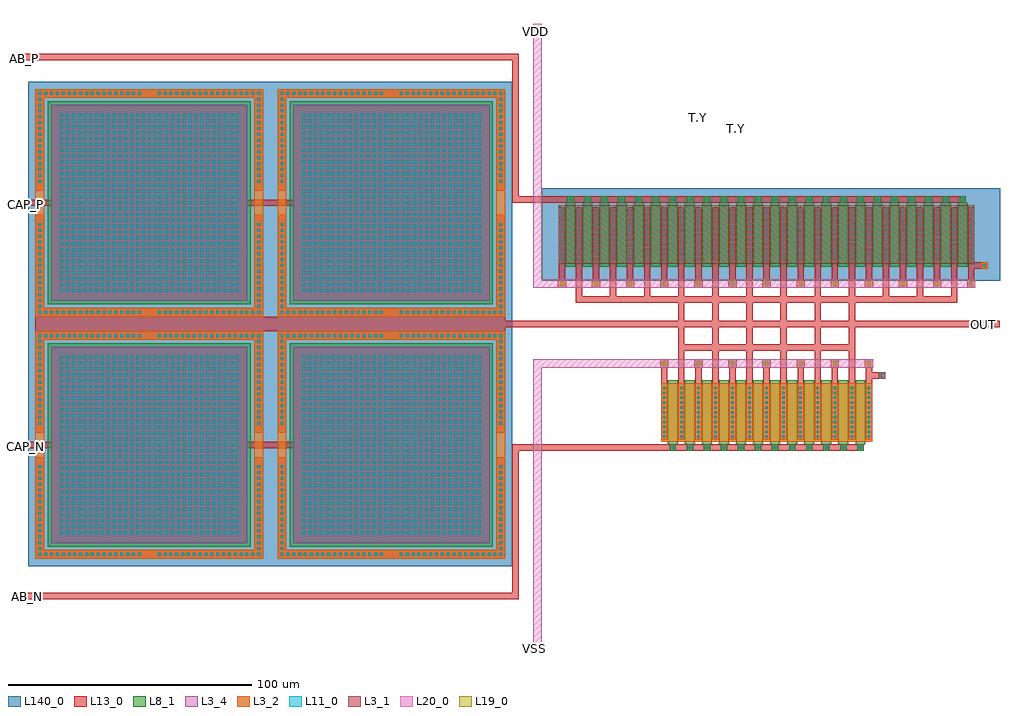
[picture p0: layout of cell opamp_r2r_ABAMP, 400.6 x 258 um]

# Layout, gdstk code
from math import pi, radians
import gdstk
lib = gdstk.Library(unit=1e-6, precision=1e-07)
def R(c, l, rs):  # rectangles x0, y0, x1, y1
    for r in rs: c.add(gdstk.rectangle(r[:2], r[2:], *l))
def A(c, l, x, y, w, h, nx, ny, dx, dy):  # array of equal rectangles
    R(c, l, [(x+i*dx, y+j*dy, x+i*dx+w, y+j*dy+h) for i in range(nx) for j in range(ny)])
def P(c, l, *ps):  # polygons
    for p in ps: c.add(gdstk.Polygon(p, *l))
L3_1 = (3, 1)
L3_2 = (3, 2)
L3_4 = (3, 4)
L8_1 = (8, 1)
L11_0 = (11, 0)
L13_0 = (13, 0)
L19_0 = (19, 0)
L20_0 = (20, 0)
L140_0 = (140, 0)

fet_p = lib.new_cell('fet_p')
R(fet_p, L3_1, [(-85.3,-12,85.3,12)])
A(fet_p, L11_0, -84.5, -10.5, 1, 1, 25, 11, 7, 2)
A(fet_p, L13_0, -85.3, -11.3, 2.6, 22.6, 25, 1, 7, 0)
fet_p.add(gdstk.FlexPath([(3.5,-13.2),(3.5,13.2)], 4, ends="flush", simple_path=True, layer=8, datatype=1))  # L8_1
fet_p.add(gdstk.FlexPath([(-3.5,-13.2),(-3.5,13.2)], 4, ends="flush", simple_path=True, layer=8, datatype=1))  # L8_1
fet_p.add(gdstk.FlexPath([(10.5,-13.2),(10.5,13.2)], 4, ends="flush", simple_path=True, layer=8, datatype=1))  # L8_1
fet_p.add(gdstk.FlexPath([(-10.5,-13.2),(-10.5,13.2)], 4, ends="flush", simple_path=True, layer=8, datatype=1))  # L8_1
fet_p.add(gdstk.FlexPath([(17.5,-13.2),(17.5,13.2)], 4, ends="flush", simple_path=True, layer=8, datatype=1))  # L8_1
fet_p.add(gdstk.FlexPath([(-17.5,-13.2),(-17.5,13.2)], 4, ends="flush", simple_path=True, layer=8, datatype=1))  # L8_1
fet_p.add(gdstk.FlexPath([(24.5,-13.2),(24.5,13.2)], 4, ends="flush", simple_path=True, layer=8, datatype=1))  # L8_1
fet_p.add(gdstk.FlexPath([(-24.5,-13.2),(-24.5,13.2)], 4, ends="flush", simple_path=True, layer=8, datatype=1))  # L8_1
fet_p.add(gdstk.FlexPath([(31.5,-13.2),(31.5,13.2)], 4, ends="flush", simple_path=True, layer=8, datatype=1))  # L8_1
fet_p.add(gdstk.FlexPath([(-31.5,-13.2),(-31.5,13.2)], 4, ends="flush", simple_path=True, layer=8, datatype=1))  # L8_1
fet_p.add(gdstk.FlexPath([(38.5,-13.2),(38.5,13.2)], 4, ends="flush", simple_path=True, layer=8, datatype=1))  # L8_1
fet_p.add(gdstk.FlexPath([(-38.5,-13.2),(-38.5,13.2)], 4, ends="flush", simple_path=True, layer=8, datatype=1))  # L8_1
fet_p.add(gdstk.FlexPath([(45.5,-13.2),(45.5,13.2)], 4, ends="flush", simple_path=True, layer=8, datatype=1))  # L8_1
fet_p.add(gdstk.FlexPath([(-45.5,-13.2),(-45.5,13.2)], 4, ends="flush", simple_path=True, layer=8, datatype=1))  # L8_1
fet_p.add(gdstk.FlexPath([(52.5,-13.2),(52.5,13.2)], 4, ends="flush", simple_path=True, layer=8, datatype=1))  # L8_1
fet_p.add(gdstk.FlexPath([(-52.5,-13.2),(-52.5,13.2)], 4, ends="flush", simple_path=True, layer=8, datatype=1))  # L8_1
fet_p.add(gdstk.FlexPath([(59.5,-13.2),(59.5,13.2)], 4, ends="flush", simple_path=True, layer=8, datatype=1))  # L8_1
fet_p.add(gdstk.FlexPath([(-59.5,-13.2),(-59.5,13.2)], 4, ends="flush", simple_path=True, layer=8, datatype=1))  # L8_1
fet_p.add(gdstk.FlexPath([(66.5,-13.2),(66.5,13.2)], 4, ends="flush", simple_path=True, layer=8, datatype=1))  # L8_1
fet_p.add(gdstk.FlexPath([(-66.5,-13.2),(-66.5,13.2)], 4, ends="flush", simple_path=True, layer=8, datatype=1))  # L8_1
fet_p.add(gdstk.FlexPath([(73.5,-13.2),(73.5,13.2)], 4, ends="flush", simple_path=True, layer=8, datatype=1))  # L8_1
fet_p.add(gdstk.FlexPath([(-73.5,-13.2),(-73.5,13.2)], 4, ends="flush", simple_path=True, layer=8, datatype=1))  # L8_1
fet_p.add(gdstk.FlexPath([(80.5,-13.2),(80.5,13.2)], 4, ends="flush", simple_path=True, layer=8, datatype=1))  # L8_1
fet_p.add(gdstk.FlexPath([(-80.5,-13.2),(-80.5,13.2)], 4, ends="flush", simple_path=True, layer=8, datatype=1))  # L8_1

fet_n = lib.new_cell('fet_n')
R(fet_n, L3_2, [(-43.3,-12,43.3,12)])
A(fet_n, L11_0, -42.5, -10.5, 1, 1, 13, 11, 7, 2)
A(fet_n, L13_0, -43.3, -11.3, 2.6, 22.6, 13, 1, 7, 0)
fet_n.add(gdstk.FlexPath([(3.5,-13.2),(3.5,13.2)], 4, ends="flush", simple_path=True, layer=8, datatype=1))  # L8_1
fet_n.add(gdstk.FlexPath([(-3.5,-13.2),(-3.5,13.2)], 4, ends="flush", simple_path=True, layer=8, datatype=1))  # L8_1
fet_n.add(gdstk.FlexPath([(10.5,-13.2),(10.5,13.2)], 4, ends="flush", simple_path=True, layer=8, datatype=1))  # L8_1
fet_n.add(gdstk.FlexPath([(-10.5,-13.2),(-10.5,13.2)], 4, ends="flush", simple_path=True, layer=8, datatype=1))  # L8_1
fet_n.add(gdstk.FlexPath([(17.5,-13.2),(17.5,13.2)], 4, ends="flush", simple_path=True, layer=8, datatype=1))  # L8_1
fet_n.add(gdstk.FlexPath([(-17.5,-13.2),(-17.5,13.2)], 4, ends="flush", simple_path=True, layer=8, datatype=1))  # L8_1
fet_n.add(gdstk.FlexPath([(24.5,-13.2),(24.5,13.2)], 4, ends="flush", simple_path=True, layer=8, datatype=1))  # L8_1
fet_n.add(gdstk.FlexPath([(-24.5,-13.2),(-24.5,13.2)], 4, ends="flush", simple_path=True, layer=8, datatype=1))  # L8_1
fet_n.add(gdstk.FlexPath([(31.5,-13.2),(31.5,13.2)], 4, ends="flush", simple_path=True, layer=8, datatype=1))  # L8_1
fet_n.add(gdstk.FlexPath([(-31.5,-13.2),(-31.5,13.2)], 4, ends="flush", simple_path=True, layer=8, datatype=1))  # L8_1
fet_n.add(gdstk.FlexPath([(38.5,-13.2),(38.5,13.2)], 4, ends="flush", simple_path=True, layer=8, datatype=1))  # L8_1
fet_n.add(gdstk.FlexPath([(-38.5,-13.2),(-38.5,13.2)], 4, ends="flush", simple_path=True, layer=8, datatype=1))  # L8_1

moscap = lib.new_cell('moscap')
P(moscap, L3_2, [(-46.7,-46.7),(-46.7,43.1),(-43.1,43.1),(-43.1,-43.1),(43.1,-43.1),(43.1,43.1),(-46.7,43.1),(-46.7,46.7),(46.7,46.7),(46.7,-46.7)])
R(moscap, L3_4, [(-40.3,-40.3,40.3,40.3)])
R(moscap, L8_1, [(-41.7,-41.7,41.7,41.7)])
A(moscap, L11_0, -45.5, -45.5, 1.2, 1.2, 1, 18, 0, 2.4)
A(moscap, L11_0, -45.5, -45.5, 1.2, 1.2, 16, 2, 2.4, 89.8)
A(moscap, L11_0, 8.3, -45.5, 1.2, 1.2, 16, 2, 2.4, 89.8)
A(moscap, L11_0, 44.3, -45.5, 1.2, 1.2, 1, 18, 0, 2.4)
A(moscap, L11_0, -36.6, -36.6, 1.2, 1.2, 31, 31, 2.4, 2.4)
A(moscap, L11_0, -45.5, 3.5, 1.2, 1.2, 1, 18, 0, 2.4)
A(moscap, L11_0, 44.3, 3.5, 1.2, 1.2, 1, 18, 0, 2.4)
R(moscap, L13_0, [(-40.3,-40.3,40.3,40.3)])
P(moscap, L13_0, [(-46.7,-46.7),(-46.7,46.7),(-5,46.7),(-5,43.1),(-43.1,43.1),(-43.1,-43.1),(-5,-43.1),(-5,-46.7)],
  [(5,-46.7),(5,-43.1),(43.1,-43.1),(43.1,43.1),(5,43.1),(5,46.7),(46.7,46.7),(46.7,-46.7)])
R(moscap, L140_0, [(-49.7,-49.7,49.7,49.7)])

cont_g = lib.new_cell('cont_g')
R(cont_g, L8_1, [(-1.3,-1.3,1.3,1.3)])
R(cont_g, L11_0, [(-0.5,-0.5,0.5,0.5)])
R(cont_g, L13_0, [(-1.3,-1.3,1.3,1.3)])

via_1 = lib.new_cell('via_1')
R(via_1, L13_0, [(-1.7,-1.7,1.7,1.7)])
R(via_1, L19_0, [(-0.7,-0.7,0.7,0.7)])
R(via_1, L20_0, [(-1.7,-1.7,1.7,1.7)])

cont_p = lib.new_cell('cont_p')
R(cont_p, L3_1, [(-1.3,-1.3,1.3,1.3)])
R(cont_p, L11_0, [(-0.5,-0.5,0.5,0.5)])
R(cont_p, L13_0, [(-1.3,-1.3,1.3,1.3)])

cont_n = lib.new_cell('cont_n')
R(cont_n, L3_2, [(-1.3,-1.3,1.3,1.3)])
R(cont_n, L11_0, [(-0.5,-0.5,0.5,0.5)])
R(cont_n, L13_0, [(-1.3,-1.3,1.3,1.3)])

opamp_r2r_abamp = lib.new_cell('opamp_r2r_ABAMP')
R(opamp_r2r_abamp, L13_0, [(-255.7,-18,-62.9,-12)])
R(opamp_r2r_abamp, L140_0, [(-47.9,2.6,140.2,40.6)])
opamp_r2r_abamp.add(gdstk.FlexPath([(-32.6,10.3),(-32.6,-3.7)], 2.6, ends="flush", simple_path=True, layer=13, datatype=0))  # L13_0
opamp_r2r_abamp.add(gdstk.FlexPath([(-18.6,10.3),(-18.6,-3.7)], 2.6, ends="flush", simple_path=True, layer=13, datatype=0))  # L13_0
opamp_r2r_abamp.add(gdstk.FlexPath([(-4.6,10.3),(-4.6,-3.7)], 2.6, ends="flush", simple_path=True, layer=13, datatype=0))  # L13_0
opamp_r2r_abamp.add(gdstk.FlexPath([(9.4,10.3),(9.4,-3.7)], 2.6, ends="flush", simple_path=True, layer=13, datatype=0))  # L13_0
opamp_r2r_abamp.add(gdstk.FlexPath([(23.4,10.3),(23.4,-3.7)], 2.6, ends="flush", simple_path=True, layer=13, datatype=0))  # L13_0
opamp_r2r_abamp.add(gdstk.FlexPath([(37.4,10.3),(37.4,-3.7)], 2.6, ends="flush", simple_path=True, layer=13, datatype=0))  # L13_0
opamp_r2r_abamp.add(gdstk.FlexPath([(51.4,10.3),(51.4,-3.7)], 2.6, ends="flush", simple_path=True, layer=13, datatype=0))  # L13_0
opamp_r2r_abamp.add(gdstk.FlexPath([(65.4,10.3),(65.4,-3.7)], 2.6, ends="flush", simple_path=True, layer=13, datatype=0))  # L13_0
opamp_r2r_abamp.add(gdstk.FlexPath([(79.4,10.3),(79.4,-3.7)], 2.6, ends="flush", simple_path=True, layer=13, datatype=0))  # L13_0
opamp_r2r_abamp.add(gdstk.FlexPath([(93.4,10.3),(93.4,-3.7)], 2.6, ends="flush", simple_path=True, layer=13, datatype=0))  # L13_0
opamp_r2r_abamp.add(gdstk.FlexPath([(107.4,10.3),(107.4,-3.7)], 2.6, ends="flush", simple_path=True, layer=13, datatype=0))  # L13_0
opamp_r2r_abamp.add(gdstk.FlexPath([(121.4,10.3),(121.4,-3.7)], 2.6, ends="flush", simple_path=True, layer=13, datatype=0))  # L13_0
opamp_r2r_abamp.add(gdstk.FlexPath([(2.4,-33),(2.4,-40)], 2.6, ends="flush", simple_path=True, layer=13, datatype=0))  # L13_0
opamp_r2r_abamp.add(gdstk.FlexPath([(16.4,-33),(16.4,-40)], 2.6, ends="flush", simple_path=True, layer=13, datatype=0))  # L13_0
opamp_r2r_abamp.add(gdstk.FlexPath([(30.4,-33),(30.4,-40)], 2.6, ends="flush", simple_path=True, layer=13, datatype=0))  # L13_0
opamp_r2r_abamp.add(gdstk.FlexPath([(44.4,-33),(44.4,-40)], 2.6, ends="flush", simple_path=True, layer=13, datatype=0))  # L13_0
opamp_r2r_abamp.add(gdstk.FlexPath([(58.4,-33),(58.4,-40)], 2.6, ends="flush", simple_path=True, layer=13, datatype=0))  # L13_0
opamp_r2r_abamp.add(gdstk.FlexPath([(72.4,-33),(72.4,-40)], 2.6, ends="flush", simple_path=True, layer=13, datatype=0))  # L13_0
opamp_r2r_abamp.add(gdstk.FlexPath([(86.4,-33),(86.4,-40)], 2.6, ends="flush", simple_path=True, layer=13, datatype=0))  # L13_0
opamp_r2r_abamp.add(gdstk.FlexPath([(9.4,-26),(9.4,-40)], 2.6, ends="flush", simple_path=True, layer=13, datatype=0))  # L13_0
opamp_r2r_abamp.add(gdstk.FlexPath([(23.4,-26),(23.4,-40)], 2.6, ends="flush", simple_path=True, layer=13, datatype=0))  # L13_0
opamp_r2r_abamp.add(gdstk.FlexPath([(37.4,-26),(37.4,-40)], 2.6, ends="flush", simple_path=True, layer=13, datatype=0))  # L13_0
opamp_r2r_abamp.add(gdstk.FlexPath([(51.4,-26),(51.4,-40)], 2.6, ends="flush", simple_path=True, layer=13, datatype=0))  # L13_0
opamp_r2r_abamp.add(gdstk.FlexPath([(65.4,-26),(65.4,-40)], 2.6, ends="flush", simple_path=True, layer=13, datatype=0))  # L13_0
opamp_r2r_abamp.add(gdstk.FlexPath([(79.4,-26),(79.4,-40)], 2.6, ends="flush", simple_path=True, layer=13, datatype=0))  # L13_0
opamp_r2r_abamp.add(gdstk.FlexPath([(-37.4,36.1),(126.2,36.1)], 2.6, ends="flush", simple_path=True, layer=13, datatype=0))  # L13_0
opamp_r2r_abamp.add(gdstk.FlexPath([(4.6,-65.8),(84.2,-65.8)], 2.6, ends="flush", simple_path=True, layer=13, datatype=0))  # L13_0
opamp_r2r_abamp.add(gdstk.FlexPath([(122.7,-5),(-33.9,-5)], 2.6, ends="flush", simple_path=True, layer=13, datatype=0))  # L13_0
opamp_r2r_abamp.add(gdstk.FlexPath([(8.1,-24.7),(80.7,-24.7)], 2.6, ends="flush", simple_path=True, layer=13, datatype=0))  # L13_0
opamp_r2r_abamp.add(gdstk.FlexPath([(9.4,-3.7),(9.4,-26)], 2.6, ends="flush", simple_path=True, layer=13, datatype=0))  # L13_0
opamp_r2r_abamp.add(gdstk.FlexPath([(23.4,-3.7),(23.4,-26)], 2.6, ends="flush", simple_path=True, layer=13, datatype=0))  # L13_0
opamp_r2r_abamp.add(gdstk.FlexPath([(37.4,-3.7),(37.4,-26)], 2.6, ends="flush", simple_path=True, layer=13, datatype=0))  # L13_0
opamp_r2r_abamp.add(gdstk.FlexPath([(51.4,-3.7),(51.4,-26)], 2.6, ends="flush", simple_path=True, layer=13, datatype=0))  # L13_0
opamp_r2r_abamp.add(gdstk.FlexPath([(65.4,-3.7),(65.4,-26)], 2.6, ends="flush", simple_path=True, layer=13, datatype=0))  # L13_0
opamp_r2r_abamp.add(gdstk.FlexPath([(79.4,-3.7),(79.4,-26)], 2.6, ends="flush", simple_path=True, layer=13, datatype=0))  # L13_0
opamp_r2r_abamp.add(gdstk.FlexPath([(8.1,-15),(140.1,-15)], 2.6, ends="flush", simple_path=True, layer=13, datatype=0))  # L13_0
opamp_r2r_abamp.add(gdstk.FlexPath([(93.1,-36.2),(87.7,-36.2)], 2.6, ends="flush", simple_path=True, layer=13, datatype=0))  # L13_0
opamp_r2r_abamp.add(gdstk.FlexPath([(135.2,8.9),(129.7,8.9)], 2.6, ends="flush", simple_path=True, layer=13, datatype=0))  # L13_0
opamp_r2r_abamp.add(gdstk.FlexPath([(-39.6,10.3),(-39.6,3.3)], 2.6, ends="flush", simple_path=True, layer=13, datatype=0))  # L13_0
opamp_r2r_abamp.add(gdstk.FlexPath([(-25.6,10.3),(-25.6,3.3)], 2.6, ends="flush", simple_path=True, layer=13, datatype=0))  # L13_0
opamp_r2r_abamp.add(gdstk.FlexPath([(-11.6,10.3),(-11.6,3.3)], 2.6, ends="flush", simple_path=True, layer=13, datatype=0))  # L13_0
opamp_r2r_abamp.add(gdstk.FlexPath([(2.4,10.3),(2.4,3.3)], 2.6, ends="flush", simple_path=True, layer=13, datatype=0))  # L13_0
opamp_r2r_abamp.add(gdstk.FlexPath([(16.4,10.3),(16.4,3.3)], 2.6, ends="flush", simple_path=True, layer=13, datatype=0))  # L13_0
opamp_r2r_abamp.add(gdstk.FlexPath([(30.4,10.3),(30.4,3.3)], 2.6, ends="flush", simple_path=True, layer=13, datatype=0))  # L13_0
opamp_r2r_abamp.add(gdstk.FlexPath([(44.4,10.3),(44.4,3.3)], 2.6, ends="flush", simple_path=True, layer=13, datatype=0))  # L13_0
opamp_r2r_abamp.add(gdstk.FlexPath([(58.4,10.3),(58.4,3.3)], 2.6, ends="flush", simple_path=True, layer=13, datatype=0))  # L13_0
opamp_r2r_abamp.add(gdstk.FlexPath([(72.4,10.3),(72.4,3.3)], 2.6, ends="flush", simple_path=True, layer=13, datatype=0))  # L13_0
opamp_r2r_abamp.add(gdstk.FlexPath([(86.4,10.3),(86.4,3.3)], 2.6, ends="flush", simple_path=True, layer=13, datatype=0))  # L13_0
opamp_r2r_abamp.add(gdstk.FlexPath([(100.4,10.3),(100.4,3.3)], 2.6, ends="flush", simple_path=True, layer=13, datatype=0))  # L13_0
opamp_r2r_abamp.add(gdstk.FlexPath([(114.4,10.3),(114.4,3.3)], 2.6, ends="flush", simple_path=True, layer=13, datatype=0))  # L13_0
opamp_r2r_abamp.add(gdstk.FlexPath([(128.4,10.3),(128.4,3.3)], 2.6, ends="flush", simple_path=True, layer=13, datatype=0))  # L13_0
opamp_r2r_abamp.add(gdstk.FlexPath([(-22.1,36.1),(-58.6,36.1),(-58.6,94.6),(-260.4,94.6)], 2.6, ends="flush", simple_path=True, layer=13, datatype=0))  # L13_0
opamp_r2r_abamp.add(gdstk.FlexPath([(-69.2,34.7),(-260.4,34.7)], 2.6, ends="flush", simple_path=True, layer=13, datatype=0))  # L13_0
opamp_r2r_abamp.add(gdstk.FlexPath([(-69.2,-64.7),(-260.4,-64.7)], 2.6, ends="flush", simple_path=True, layer=13, datatype=0))  # L13_0
opamp_r2r_abamp.add(gdstk.FlexPath([(19.9,-65.8),(-58.6,-65.8),(-58.6,-126.7),(-260.4,-126.7)], 2.6, ends="flush", simple_path=True, layer=13, datatype=0))  # L13_0
opamp_r2r_abamp.add(gdstk.FlexPath([(24.7,-15),(-64,-15)], 2.6, ends="flush", simple_path=True, layer=13, datatype=0))  # L13_0
opamp_r2r_abamp.add(gdstk.FlexPath([(-41.3,1.6),(-49.6,1.6),(-49.6,108.2)], 3.4, ends="flush", simple_path=True, layer=20, datatype=0))  # L20_0
opamp_r2r_abamp.add(gdstk.FlexPath([(0.7,-31.3),(-49.6,-31.3),(-49.6,-149.8)], 3.4, ends="flush", simple_path=True, layer=20, datatype=0))  # L20_0
opamp_r2r_abamp.add(gdstk.FlexPath([(-41.3,1.6),(130.1,1.6)], 3.4, ends="flush", simple_path=True, layer=20, datatype=0))  # L20_0
opamp_r2r_abamp.add(gdstk.FlexPath([(0.7,-31.3),(88.1,-31.3)], 3.4, ends="flush", simple_path=True, layer=20, datatype=0))  # L20_0
opamp_r2r_abamp.add(gdstk.Reference(fet_p, (44.4,21.6)))
opamp_r2r_abamp.add(gdstk.Reference(fet_n, (44.4,-51.3)))
opamp_r2r_abamp.add(gdstk.Reference(moscap, (-209,34.7), rotation=pi/2))
opamp_r2r_abamp.add(gdstk.Reference(moscap, (-109.6,34.7), rotation=pi/2))
opamp_r2r_abamp.add(gdstk.Reference(moscap, (-209,-64.7), rotation=pi/2))
opamp_r2r_abamp.add(gdstk.Reference(moscap, (-109.6,-64.7), rotation=pi/2))
opamp_r2r_abamp.add(gdstk.Reference(cont_g, (-36.1,36.1)))
opamp_r2r_abamp.add(gdstk.Reference(cont_g, (-22.1,36.1)))
opamp_r2r_abamp.add(gdstk.Reference(cont_g, (-8.1,36.1)))
opamp_r2r_abamp.add(gdstk.Reference(cont_g, (5.9,36.1)))
opamp_r2r_abamp.add(gdstk.Reference(cont_g, (19.9,36.1)))
opamp_r2r_abamp.add(gdstk.Reference(cont_g, (33.9,36.1)))
opamp_r2r_abamp.add(gdstk.Reference(cont_g, (47.9,36.1)))
opamp_r2r_abamp.add(gdstk.Reference(cont_g, (61.9,36.1)))
opamp_r2r_abamp.add(gdstk.Reference(cont_g, (75.9,36.1)))
opamp_r2r_abamp.add(gdstk.Reference(cont_g, (89.9,36.1)))
opamp_r2r_abamp.add(gdstk.Reference(cont_g, (103.9,36.1)))
opamp_r2r_abamp.add(gdstk.Reference(cont_g, (117.9,36.1)))
opamp_r2r_abamp.add(gdstk.Reference(cont_g, (-29.1,36.1)))
opamp_r2r_abamp.add(gdstk.Reference(cont_g, (-15.1,36.1)))
opamp_r2r_abamp.add(gdstk.Reference(cont_g, (-1.1,36.1)))
opamp_r2r_abamp.add(gdstk.Reference(cont_g, (12.9,36.1)))
opamp_r2r_abamp.add(gdstk.Reference(cont_g, (26.9,36.1)))
opamp_r2r_abamp.add(gdstk.Reference(cont_g, (40.9,36.1)))
opamp_r2r_abamp.add(gdstk.Reference(cont_g, (54.9,36.1)))
opamp_r2r_abamp.add(gdstk.Reference(cont_g, (68.9,36.1)))
opamp_r2r_abamp.add(gdstk.Reference(cont_g, (82.9,36.1)))
opamp_r2r_abamp.add(gdstk.Reference(cont_g, (96.9,36.1)))
opamp_r2r_abamp.add(gdstk.Reference(cont_g, (110.9,36.1)))
opamp_r2r_abamp.add(gdstk.Reference(cont_g, (124.9,36.1)))
opamp_r2r_abamp.add(gdstk.Reference(cont_g, (5.9,-65.8)))
opamp_r2r_abamp.add(gdstk.Reference(cont_g, (12.9,-65.8)))
opamp_r2r_abamp.add(gdstk.Reference(cont_g, (19.9,-65.8)))
opamp_r2r_abamp.add(gdstk.Reference(cont_g, (26.9,-65.8)))
opamp_r2r_abamp.add(gdstk.Reference(cont_g, (33.9,-65.8)))
opamp_r2r_abamp.add(gdstk.Reference(cont_g, (40.9,-65.8)))
opamp_r2r_abamp.add(gdstk.Reference(cont_g, (47.9,-65.8)))
opamp_r2r_abamp.add(gdstk.Reference(cont_g, (54.9,-65.8)))
opamp_r2r_abamp.add(gdstk.Reference(cont_g, (61.9,-65.8)))
opamp_r2r_abamp.add(gdstk.Reference(cont_g, (68.9,-65.8)))
opamp_r2r_abamp.add(gdstk.Reference(cont_g, (75.9,-65.8)))
opamp_r2r_abamp.add(gdstk.Reference(cont_g, (82.9,-65.8)))
opamp_r2r_abamp.add(gdstk.Reference(via_1, (-39.6,1.6)))
opamp_r2r_abamp.add(gdstk.Reference(via_1, (-25.6,1.6)))
opamp_r2r_abamp.add(gdstk.Reference(via_1, (-11.6,1.6)))
opamp_r2r_abamp.add(gdstk.Reference(via_1, (2.4,1.6)))
opamp_r2r_abamp.add(gdstk.Reference(via_1, (16.4,1.6)))
opamp_r2r_abamp.add(gdstk.Reference(via_1, (30.4,1.6)))
opamp_r2r_abamp.add(gdstk.Reference(via_1, (44.4,1.6)))
opamp_r2r_abamp.add(gdstk.Reference(via_1, (58.4,1.6)))
opamp_r2r_abamp.add(gdstk.Reference(via_1, (72.4,1.6)))
opamp_r2r_abamp.add(gdstk.Reference(via_1, (86.4,1.6)))
opamp_r2r_abamp.add(gdstk.Reference(via_1, (100.4,1.6)))
opamp_r2r_abamp.add(gdstk.Reference(via_1, (114.4,1.6)))
opamp_r2r_abamp.add(gdstk.Reference(via_1, (128.4,1.6)))
opamp_r2r_abamp.add(gdstk.Reference(via_1, (2.4,-31.3)))
opamp_r2r_abamp.add(gdstk.Reference(via_1, (16.4,-31.3)))
opamp_r2r_abamp.add(gdstk.Reference(via_1, (30.4,-31.3)))
opamp_r2r_abamp.add(gdstk.Reference(via_1, (44.4,-31.3)))
opamp_r2r_abamp.add(gdstk.Reference(via_1, (58.4,-31.3)))
opamp_r2r_abamp.add(gdstk.Reference(via_1, (72.4,-31.3)))
opamp_r2r_abamp.add(gdstk.Reference(via_1, (86.4,-31.3)))
opamp_r2r_abamp.add(gdstk.Reference(cont_p, (91.8,-36.2)))
opamp_r2r_abamp.add(gdstk.Reference(cont_n, (133.9,8.9)))
opamp_r2r_abamp.add(gdstk.Label('T.Y', (31.6,65.3), layer=13, texttype=0))
opamp_r2r_abamp.add(gdstk.Label('T.Y', (16.1,69.9), layer=48, texttype=0))
opamp_r2r_abamp.add(gdstk.Label('OUT', (133.3,-15.2), layer=48, texttype=0))
opamp_r2r_abamp.add(gdstk.Label('AB_P', (-260,93.8), layer=48, texttype=0))
opamp_r2r_abamp.add(gdstk.Label('CAP_P', (-259.7,34), layer=48, texttype=0))
opamp_r2r_abamp.add(gdstk.Label('CAP_N', (-259.8,-65.5), layer=48, texttype=0))
opamp_r2r_abamp.add(gdstk.Label('AB_N', (-258.9,-127.1), layer=48, texttype=0))
opamp_r2r_abamp.add(gdstk.Label('VSS', (-50.7,-148.2), layer=49, texttype=0))
opamp_r2r_abamp.add(gdstk.Label('VDD', (-50.5,105.2), layer=49, texttype=0))

lib.write_gds('opamp_r2r_ABAMP.gds')
